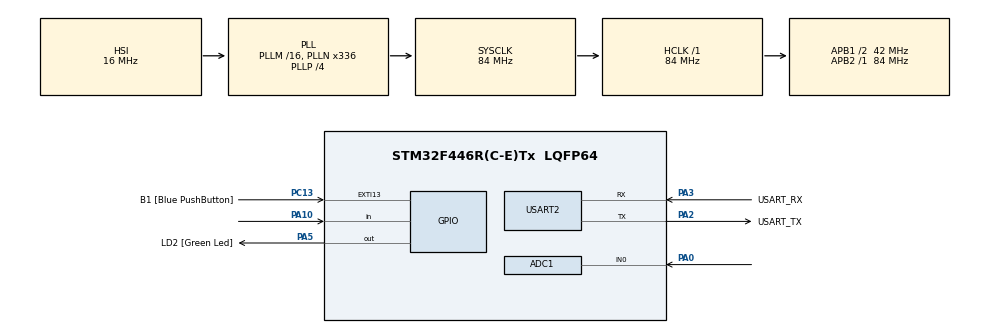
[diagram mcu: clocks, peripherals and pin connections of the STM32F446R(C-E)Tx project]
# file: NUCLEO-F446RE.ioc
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ADC1.Channel-0\#ChannelRegularConversion=ADC_CHANNEL_0
ADC1.NbrOfConversionFlag=1
ADC1.Rank-0\#ChannelRegularConversion=1
ADC1.SamplingTime-0\#ChannelRegularConversion=ADC_SAMPLETIME_3CYCLES
ADC1.master=1
Mcu.Family=STM32F4
Mcu.Name=STM32F446R(C-E)Tx
Mcu.Package=LQFP64
NVIC.PriorityGroup=NVIC_PRIORITYGROUP_0
PA0-WKUP.Signal=ADCx_IN0
PA10.Signal=GPIO_Input
PA13.GPIO_Label=TMS
PA13.Mode=Serial_Wire
PA13.Signal=SYS_JTMS-SWDIO
PA14.GPIO_Label=TCK
PA14.Mode=Serial_Wire
PA14.Signal=SYS_JTCK-SWCLK
PA2.GPIO_Label=USART_TX
PA2.Mode=Asynchronous
PA2.Signal=USART2_TX
PA3.GPIO_Label=USART_RX
PA3.Mode=Asynchronous
PA3.Signal=USART2_RX
PA5.GPIO_Label=LD2 [Green Led]
PA5.Signal=GPIO_Output
PB3.GPIO_Label=SWO
PB3.Signal=SYS_JTDO-SWO
PC13.GPIO_Label=B1 [Blue PushButton]
PC13.GPIO_ModeDefaultEXTI=GPIO_MODE_IT_FALLING
PC13.Signal=GPXTI13
PC14-OSC32_IN.Mode=LSE-External-Oscillator
PC14-OSC32_IN.Signal=RCC_OSC32_IN
PC15-OSC32_OUT.Mode=LSE-External-Oscillator
PC15-OSC32_OUT.Signal=RCC_OSC32_OUT
PH0-OSC_IN.Mode=HSE-External-Oscillator
PH0-OSC_IN.Signal=RCC_OSC_IN
PH1-OSC_OUT.Mode=HSE-External-Oscillator
PH1-OSC_OUT.Signal=RCC_OSC_OUT
ProjectManager.HeapSize=0x200
ProjectManager.StackSize=0x400
ProjectManager.TargetToolchain=STM32CubeIDE
RCC.48MHZClocksFreq_Value=84000000
RCC.AHBFreq_Value=84000000
RCC.APB1CLKDivider=RCC_HCLK_DIV2
RCC.APB1Freq_Value=42000000
RCC.APB1TimFreq_Value=84000000
RCC.APB2Freq_Value=84000000
RCC.APB2TimFreq_Value=84000000
RCC.CortexFreq_Value=84000000
RCC.FLatency-AdvancedSettings=FLASH_LATENCY_2
RCC.HCLKFreq_Value=84000000
RCC.HSE_VALUE=8000000
RCC.HSI_VALUE=16000000
RCC.PLLN=336
RCC.PLLP=RCC_PLLP_DIV4
RCC.SYSCLKFreq_VALUE=84000000
RCC.SYSCLKSource=RCC_SYSCLKSOURCE_PLLCLK
RCC.USBFreq_Value=168000000
RCC.VCOOutputFreq_Value=336000000
SH.ADCx_IN0.0=ADC1_IN0,IN0
USART2.VirtualMode=VM_ASYNC
board=NUCLEO-F446RE

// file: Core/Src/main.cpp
/* USER CODE BEGIN Header */
/**
  ******************************************************************************
  * @file           : main.c
  * @brief          : Main program body
  ******************************************************************************
  * @attention
  *
  * Copyright (c) 2023 STMicroelectronics.
  * All rights reserved.
  *
  * This software is licensed under terms that can be found in the LICENSE file
  * in the root directory of this software component.
  * If no LICENSE file comes with this software, it is provided AS-IS.
  *
  ******************************************************************************
  */
/* USER CODE END Header */
#include "main.h"

/* USER CODE BEGIN Includes */
#include "myinputgpio.hpp"
#include "myoutputgpio.hpp"
#include "mytimer.hpp"

#include "../myqueue/myqueue.hpp"
/* USER CODE END Includes */

ADC_HandleTypeDef hadc1;

UART_HandleTypeDef huart2;

/* USER CODE BEGIN PV */
MyInputGPIO PA10;
MyOutputGPIO PA5;
MyTimer Timer_1s;
MyQueue Queue;
uint16_t raw;
/* USER CODE END PV */

void SystemClock_Config(void);
static void MX_GPIO_Init(void);
static void MX_USART2_UART_Init(void);
static void MX_ADC1_Init(void);

/* USER CODE BEGIN 0 */
void HAL_IncTick(void)
{
	Timer_1s.CountDown();
  uwTick += uwTickFreq;
}
/* USER CODE END 0 */

int main(void)
{

  /* MCU Configuration--------------------------------------------------------*/

  /* Reset of all peripherals, Initializes the Flash interface and the Systick. */
  HAL_Init();

  /* Configure the system clock */
  SystemClock_Config();

  /* Initialize all configured peripherals */
  MX_GPIO_Init();
  MX_USART2_UART_Init();
  MX_ADC1_Init();
  /* USER CODE BEGIN 2 */
  PA10.Init(GPIOA, GPIO_PIN_10);
  PA5.Init(GPIOA, GPIO_PIN_5);
  Timer_1s.Init(1000);
  Queue.Enable = 1;
  Queue.Init(100);

  HAL_ADC_Start(&hadc1);
  HAL_ADC_PollForConversion(&hadc1, 1000);

  /* USER CODE END 2 */

  /* Infinite loop */
  while (1)
  {

    /* USER CODE BEGIN 3 */
	  if(Timer_1s.Trigger)
	  {
		  HAL_ADC_Start(&hadc1);
		  HAL_ADC_PollForConversion(&hadc1, 100);
		  raw = HAL_ADC_GetValue(&hadc1);
		  HAL_ADC_Stop(&hadc1);

		  Queue.Insert(raw);

		  if(raw > 2000)
			  PA5.PinState_Set((GPIO_PinState)(1));
		  else
			  PA5.PinState_Set((GPIO_PinState)(0));
	  }
//	  if(Timer_1s.Trigger)
//	  {
//		  PA5.PinState_Set((GPIO_PinState)(!(PA5._PinState)));
//		  Timer_1s.Restart();
//	  }
	  HAL_Delay(1);
  }
  /* USER CODE END 3 */
}

void SystemClock_Config(void)
{
  RCC_OscInitTypeDef RCC_OscInitStruct = {0};
  RCC_ClkInitTypeDef RCC_ClkInitStruct = {0};

  /** Configure the main internal regulator output voltage
  */
  __HAL_RCC_PWR_CLK_ENABLE();
  __HAL_PWR_VOLTAGESCALING_CONFIG(PWR_REGULATOR_VOLTAGE_SCALE3);
  /** Initializes the RCC Oscillators according to the specified parameters
  * in the RCC_OscInitTypeDef structure.
  */
  RCC_OscInitStruct.OscillatorType = RCC_OSCILLATORTYPE_HSI;
  RCC_OscInitStruct.HSIState = RCC_HSI_ON;
  RCC_OscInitStruct.HSICalibrationValue = RCC_HSICALIBRATION_DEFAULT;
  RCC_OscInitStruct.PLL.PLLState = RCC_PLL_ON;
  RCC_OscInitStruct.PLL.PLLSource = RCC_PLLSOURCE_HSI;
  RCC_OscInitStruct.PLL.PLLM = 16;
  RCC_OscInitStruct.PLL.PLLN = 336;
  RCC_OscInitStruct.PLL.PLLP = RCC_PLLP_DIV4;
  RCC_OscInitStruct.PLL.PLLQ = 2;
  RCC_OscInitStruct.PLL.PLLR = 2;
  if (HAL_RCC_OscConfig(&RCC_OscInitStruct) != HAL_OK)
  {
    Error_Handler();
  }
  /** Initializes the CPU, AHB and APB buses clocks
  */
  RCC_ClkInitStruct.ClockType = RCC_CLOCKTYPE_HCLK|RCC_CLOCKTYPE_SYSCLK
                              |RCC_CLOCKTYPE_PCLK1|RCC_CLOCKTYPE_PCLK2;
  RCC_ClkInitStruct.SYSCLKSource = RCC_SYSCLKSOURCE_PLLCLK;
  RCC_ClkInitStruct.AHBCLKDivider = RCC_SYSCLK_DIV1;
  RCC_ClkInitStruct.APB1CLKDivider = RCC_HCLK_DIV2;
  RCC_ClkInitStruct.APB2CLKDivider = RCC_HCLK_DIV1;

  if (HAL_RCC_ClockConfig(&RCC_ClkInitStruct, FLASH_LATENCY_2) != HAL_OK)
  {
    Error_Handler();
  }
}

static void MX_ADC1_Init(void)
{

  ADC_ChannelConfTypeDef sConfig = {0};

  /** Configure the global features of the ADC (Clock, Resolution, Data Alignment and number of conversion)
  */
  hadc1.Instance = ADC1;
  hadc1.Init.ClockPrescaler = ADC_CLOCK_SYNC_PCLK_DIV4;
  hadc1.Init.Resolution = ADC_RESOLUTION_12B;
  hadc1.Init.ScanConvMode = DISABLE;
  hadc1.Init.ContinuousConvMode = DISABLE;
  hadc1.Init.DiscontinuousConvMode = DISABLE;
  hadc1.Init.ExternalTrigConvEdge = ADC_EXTERNALTRIGCONVEDGE_NONE;
  hadc1.Init.ExternalTrigConv = ADC_SOFTWARE_START;
  hadc1.Init.DataAlign = ADC_DATAALIGN_RIGHT;
  hadc1.Init.NbrOfConversion = 1;
  hadc1.Init.DMAContinuousRequests = DISABLE;
  hadc1.Init.EOCSelection = ADC_EOC_SINGLE_CONV;
  if (HAL_ADC_Init(&hadc1) != HAL_OK)
  {
    Error_Handler();
  }
  /** Configure for the selected ADC regular channel its corresponding rank in the sequencer and its sample time.
  */
  sConfig.Channel = ADC_CHANNEL_0;
  sConfig.Rank = 1;
  sConfig.SamplingTime = ADC_SAMPLETIME_3CYCLES;
  if (HAL_ADC_ConfigChannel(&hadc1, &sConfig) != HAL_OK)
  {
    Error_Handler();
  }

}

static void MX_USART2_UART_Init(void)
{

  huart2.Instance = USART2;
  huart2.Init.BaudRate = 115200;
  huart2.Init.WordLength = UART_WORDLENGTH_8B;
  huart2.Init.StopBits = UART_STOPBITS_1;
  huart2.Init.Parity = UART_PARITY_NONE;
  huart2.Init.Mode = UART_MODE_TX_RX;
  huart2.Init.HwFlowCtl = UART_HWCONTROL_NONE;
  huart2.Init.OverSampling = UART_OVERSAMPLING_16;
  if (HAL_UART_Init(&huart2) != HAL_OK)
  {
    Error_Handler();
  }

}

static void MX_GPIO_Init(void)
{
  GPIO_InitTypeDef GPIO_InitStruct = {0};

  /* GPIO Ports Clock Enable */
  __HAL_RCC_GPIOC_CLK_ENABLE();
  __HAL_RCC_GPIOH_CLK_ENABLE();
  __HAL_RCC_GPIOA_CLK_ENABLE();
  __HAL_RCC_GPIOB_CLK_ENABLE();

  /*Configure GPIO pin Output Level */
  HAL_GPIO_WritePin(LD2_GPIO_Port, LD2_Pin, GPIO_PIN_RESET);

  /*Configure GPIO pin : B1_Pin */
  GPIO_InitStruct.Pin = B1_Pin;
  GPIO_InitStruct.Mode = GPIO_MODE_IT_FALLING;
  GPIO_InitStruct.Pull = GPIO_NOPULL;
  HAL_GPIO_Init(B1_GPIO_Port, &GPIO_InitStruct);

  /*Configure GPIO pin : LD2_Pin */
  GPIO_InitStruct.Pin = LD2_Pin;
  GPIO_InitStruct.Mode = GPIO_MODE_OUTPUT_PP;
  GPIO_InitStruct.Pull = GPIO_NOPULL;
  GPIO_InitStruct.Speed = GPIO_SPEED_FREQ_LOW;
  HAL_GPIO_Init(LD2_GPIO_Port, &GPIO_InitStruct);

  /*Configure GPIO pin : PA10 */
  GPIO_InitStruct.Pin = GPIO_PIN_10;
  GPIO_InitStruct.Mode = GPIO_MODE_INPUT;
  GPIO_InitStruct.Pull = GPIO_NOPULL;
  HAL_GPIO_Init(GPIOA, &GPIO_InitStruct);

}

void Error_Handler(void)
{
  __disable_irq();
  while (1)
  {
  }
}
